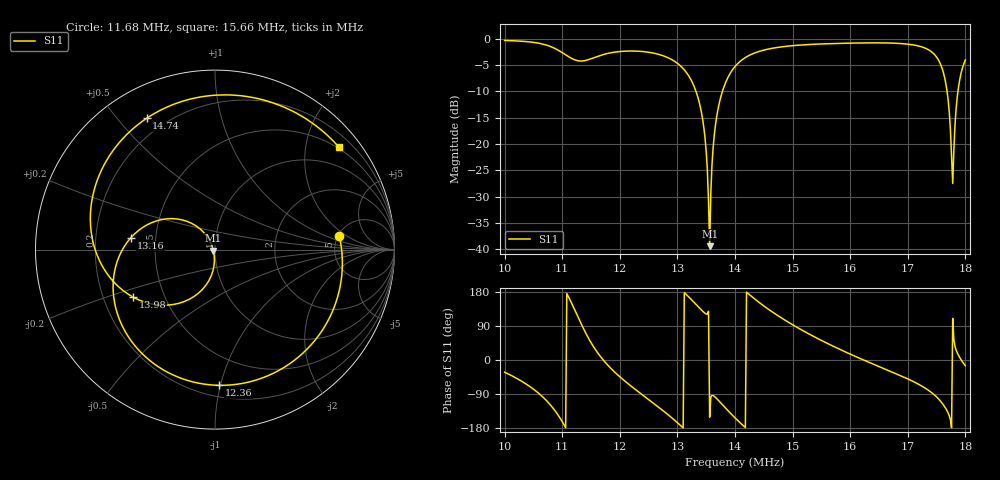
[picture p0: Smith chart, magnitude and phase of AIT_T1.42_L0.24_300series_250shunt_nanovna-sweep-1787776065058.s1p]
! NanoVNA Web complex sweep
! Processing: original sample grid, no browser smoothing
# Hz S RI R 50
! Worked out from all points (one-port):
!   401 points, 10 MHz to 18 MHz, reference 50 ohm
!   lowest |S11| = -39.4 dB at 13.56 MHz (marker M1), VSWR 1.02, Z = 49.1 - j0.51 ohm
!   |S11| at or under -10 dB: 13.32 MHz to 13.78 MHz (460.5 kHz wide, 3.4 % of centre); 17.68 MHz to 17.87 MHz (189.8 kHz wide, 1.07 % of centre)
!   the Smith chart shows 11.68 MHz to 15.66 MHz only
!   S11 on the Smith chart (normalised r, x): 11.68 MHz: 5.17, +1.47; 12.36 MHz: 0.28, -0.99; 13.16 MHz: 0.36, +0.06; 13.98 MHz: 0.33, -0.24; 14.74 MHz: 0.13, +0.60; 15.66 MHz: 0.47, +2.70
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1e7  0.8133 -0.5102
1.062e7  -0.0248 -0.8973
1.082e7  -0.4533 -0.6963
1.1e7  -0.7022 -0.2207
1.114e7  -0.6084 0.2535
1.132e7  -0.0917 0.6056
1.168e7  0.6931 0.0732
1.2e7  0.54 -0.5254
1.236e7  0.0239 -0.7562
1.3e7  -0.5638 -0.1472
1.316e7  -0.469 0.0659
1.342e7  -0.1296 0.1461
1.356e7  -0.00934 -0.00519
1.37e7  -0.0518 -0.2
1.398e7  -0.4542 -0.266
1.4e7  -0.4823 -0.2492
1.434e7  -0.6914 0.2335
1.474e7  -0.381 0.7315
1.5e7  -0.0452 0.8557
1.566e7  0.6899 0.5715
1.6e7  0.8702 0.2415
1.7e7  0.5707 -0.6765
1.734e7  0.1657 -0.7762
1.756e7  -0.1726 -0.558
1.766e7  -0.2319 -0.2945
1.778e7  -0.0143 0.0396
1.788e7  0.3366 0.0744
1.8e7  0.6054 -0.1639
